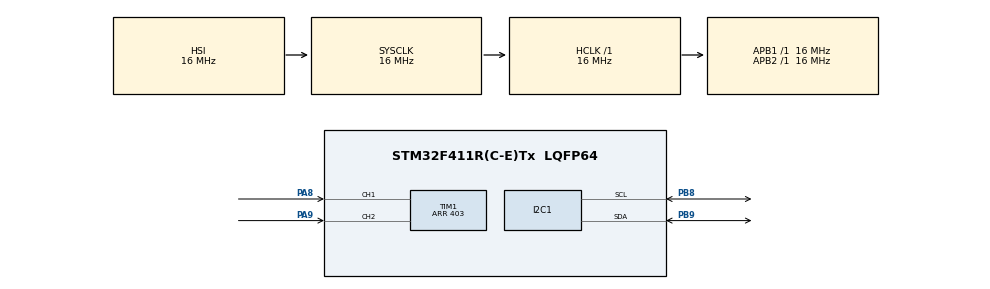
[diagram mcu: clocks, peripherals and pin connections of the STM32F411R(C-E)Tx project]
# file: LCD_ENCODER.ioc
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Mcu.Family=STM32F4
Mcu.Name=STM32F411R(C-E)Tx
Mcu.Package=LQFP64
NVIC.PriorityGroup=NVIC_PRIORITYGROUP_4
PA8.Signal=S_TIM1_CH1
PA9.Signal=S_TIM1_CH2
PB8.Mode=I2C
PB8.Signal=I2C1_SCL
PB9.Mode=I2C
PB9.Signal=I2C1_SDA
PH0\ -\ OSC_IN.Mode=HSE-External-Oscillator
PH0\ -\ OSC_IN.Signal=RCC_OSC_IN
PH1\ -\ OSC_OUT.Mode=HSE-External-Oscillator
PH1\ -\ OSC_OUT.Signal=RCC_OSC_OUT
ProjectManager.HeapSize=0x200
ProjectManager.StackSize=0x400
ProjectManager.TargetToolchain=SW4STM32
RCC.AHBFreq_Value=16000000
RCC.APB1Freq_Value=16000000
RCC.APB2Freq_Value=16000000
RCC.CortexFreq_Value=16000000
RCC.HSE_VALUE=25000000
RCC.HSI_VALUE=16000000
RCC.LSE_VALUE=32768
RCC.SYSCLKFreq_VALUE=16000000
RCC.VCOOutputFreq_Value=192000000
SH.S_TIM1_CH1.0=TIM1_CH1,Encoder_Interface
SH.S_TIM1_CH2.0=TIM1_CH2,Encoder_Interface
TIM1.EncoderMode=TIM_ENCODERMODE_TI12
TIM1.IC1Filter=15
TIM1.IC2Filter=15
TIM1.Period=403
board=LCD_ENCODER

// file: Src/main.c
/**
  ******************************************************************************
  * File Name          : main.c
  * Description        : Main program body
  ******************************************************************************
  ** This notice applies to any and all portions of this file
  * that are not between comment pairs USER CODE BEGIN and
  * USER CODE END. Other portions of this file, whether
  * inserted by the user or by software development tools
  * are owned by their respective copyright owners.
  *
  * COPYRIGHT(c) 2017 STMicroelectronics
  *
  * Redistribution and use in source and binary forms, with or without modification,
  * are permitted provided that the following conditions are met:
  *   1. Redistributions of source code must retain the above copyright notice,
  *      this list of conditions and the following disclaimer.
  *   2. Redistributions in binary form must reproduce the above copyright notice,
  *      this list of conditions and the following disclaimer in the documentation
  *      and/or other materials provided with the distribution.
  *   3. Neither the name of STMicroelectronics nor the names of its contributors
  *      may be used to endorse or promote products derived from this software
  *      without specific prior written permission.
  *
  * THIS SOFTWARE IS PROVIDED BY THE COPYRIGHT HOLDERS AND CONTRIBUTORS "AS IS"
  * AND ANY EXPRESS OR IMPLIED WARRANTIES, INCLUDING, BUT NOT LIMITED TO, THE
  * IMPLIED WARRANTIES OF MERCHANTABILITY AND FITNESS FOR A PARTICULAR PURPOSE ARE
  * DISCLAIMED. IN NO EVENT SHALL THE COPYRIGHT HOLDER OR CONTRIBUTORS BE LIABLE
  * FOR ANY DIRECT, INDIRECT, INCIDENTAL, SPECIAL, EXEMPLARY, OR CONSEQUENTIAL
  * DAMAGES (INCLUDING, BUT NOT LIMITED TO, PROCUREMENT OF SUBSTITUTE GOODS OR
  * SERVICES; LOSS OF USE, DATA, OR PROFITS; OR BUSINESS INTERRUPTION) HOWEVER
  * CAUSED AND ON ANY THEORY OF LIABILITY, WHETHER IN CONTRACT, STRICT LIABILITY,
  * OR TORT (INCLUDING NEGLIGENCE OR OTHERWISE) ARISING IN ANY WAY OUT OF THE USE
  * OF THIS SOFTWARE, EVEN IF ADVISED OF THE POSSIBILITY OF SUCH DAMAGE.
  *
  ******************************************************************************
  */

#include "main.h"
#include "stm32f4xx_hal.h"
#include "HD44780-master\\hd44780.h"
#include "PCF8574-master\\pcf8574.h"

I2C_HandleTypeDef hi2c1;
LCD_PCF8574_HandleTypeDef	lcd;
TIM_HandleTypeDef htim1;

/* USER CODE BEGIN PV */
/* Private variables ---------------------------------------------------------*/
volatile uint16_t pulse_count; // Licznik impulsow TRZEBA PODPIテ D8 (A) i D7 (B)
volatile uint16_t positions; // Licznik przekreconych pozycji
/* USER CODE END PV */

void SystemClock_Config(void);
static void MX_GPIO_Init(void);
static void MX_I2C1_Init(void);
static void MX_TIM1_Init(void);

/* USER CODE BEGIN PFP */
/* Private function prototypes -----------------------------------------------*/

/* USER CODE END PFP */

int main(void)
{

  /* MCU Configuration----------------------------------------------------------*/

  /* Reset of all peripherals, Initializes the Flash interface and the Systick. */
  HAL_Init();

  /* Configure the system clock */
  SystemClock_Config();

  /* Initialize all configured peripherals */
  MX_GPIO_Init();
  MX_I2C1_Init();
  MX_TIM1_Init();

  /* USER CODE BEGIN 2 */
  HAL_TIM_Encoder_Start(&htim1, TIM_CHANNEL_ALL);

  HAL_Init();

    	HAL_NVIC_SetPriorityGrouping(NVIC_PRIORITYGROUP_4);
    	HAL_NVIC_SetPriority(SysTick_IRQn, 0, 1);

    	lcd.pcf8574.PCF_I2C_ADDRESS = 7;
    	lcd.pcf8574.PCF_I2C_TIMEOUT = 1000;
    	lcd.pcf8574.i2c.Instance = I2C1;
    	lcd.pcf8574.i2c.Init.ClockSpeed = 400000;
    	lcd.NUMBER_OF_LINES = NUMBER_OF_LINES_2;
    	lcd.type = TYPE0;

    	if(LCD_Init(&lcd)!=LCD_OK){
    			// error occured
    			while(1);
    		}

    	LCD_ClearDisplay(&lcd);
    	LCD_SetLocation(&lcd, 0, 0);
    	LCD_WriteString(&lcd, "Choose option:");
   		LCD_SetLocation(&lcd, 0, 1);
   		LCD_WriteString(&lcd, "1. Do sth");
  /* USER CODE END 2 */

  /* Infinite loop */
  while (1)
  {
	  pulse_count = TIM1->CNT; // przepisanie wartosci z rejestru timera
	  positions = pulse_count/4; // zeskalowanie impulsow do liczby stabilnych pozycji walu enkodera

	  LCD_SetLocation(&lcd, 6, 0);
	 //LCD_WriteFloat(&lcd,3.1,2);
	  LCD_SetLocation(&lcd, 6, 1);
	 //LCD_WriteFloat(&lcd,2.71,2);
	  HAL_Delay(3000);
  }

}

/** System Clock Configuration
*/
void SystemClock_Config(void)
{

  RCC_OscInitTypeDef RCC_OscInitStruct;
  RCC_ClkInitTypeDef RCC_ClkInitStruct;

    /**Configure the main internal regulator output voltage
    */
  __HAL_RCC_PWR_CLK_ENABLE();

  __HAL_PWR_VOLTAGESCALING_CONFIG(PWR_REGULATOR_VOLTAGE_SCALE1);

    /**Initializes the CPU, AHB and APB busses clocks
    */
  RCC_OscInitStruct.OscillatorType = RCC_OSCILLATORTYPE_HSI;
  RCC_OscInitStruct.HSIState = RCC_HSI_ON;
  RCC_OscInitStruct.HSICalibrationValue = 16;
  RCC_OscInitStruct.PLL.PLLState = RCC_PLL_NONE;
  if (HAL_RCC_OscConfig(&RCC_OscInitStruct) != HAL_OK)
  {
    _Error_Handler(__FILE__, __LINE__);
  }

    /**Initializes the CPU, AHB and APB busses clocks
    */
  RCC_ClkInitStruct.ClockType = RCC_CLOCKTYPE_HCLK|RCC_CLOCKTYPE_SYSCLK
                              |RCC_CLOCKTYPE_PCLK1|RCC_CLOCKTYPE_PCLK2;
  RCC_ClkInitStruct.SYSCLKSource = RCC_SYSCLKSOURCE_HSI;
  RCC_ClkInitStruct.AHBCLKDivider = RCC_SYSCLK_DIV1;
  RCC_ClkInitStruct.APB1CLKDivider = RCC_HCLK_DIV1;
  RCC_ClkInitStruct.APB2CLKDivider = RCC_HCLK_DIV1;

  if (HAL_RCC_ClockConfig(&RCC_ClkInitStruct, FLASH_LATENCY_0) != HAL_OK)
  {
    _Error_Handler(__FILE__, __LINE__);
  }

    /**Configure the Systick interrupt time
    */
  HAL_SYSTICK_Config(HAL_RCC_GetHCLKFreq()/1000);

    /**Configure the Systick
    */
  HAL_SYSTICK_CLKSourceConfig(SYSTICK_CLKSOURCE_HCLK);

  /* SysTick_IRQn interrupt configuration */
  HAL_NVIC_SetPriority(SysTick_IRQn, 0, 0);
}

/* I2C1 init function */
static void MX_I2C1_Init(void)
{

  hi2c1.Instance = I2C1;
  hi2c1.Init.ClockSpeed = 100000;
  hi2c1.Init.DutyCycle = I2C_DUTYCYCLE_2;
  hi2c1.Init.OwnAddress1 = 0;
  hi2c1.Init.AddressingMode = I2C_ADDRESSINGMODE_7BIT;
  hi2c1.Init.DualAddressMode = I2C_DUALADDRESS_DISABLE;
  hi2c1.Init.OwnAddress2 = 0;
  hi2c1.Init.GeneralCallMode = I2C_GENERALCALL_DISABLE;
  hi2c1.Init.NoStretchMode = I2C_NOSTRETCH_DISABLE;
  if (HAL_I2C_Init(&hi2c1) != HAL_OK)
  {
    _Error_Handler(__FILE__, __LINE__);
  }

}

/* TIM1 init function */
static void MX_TIM1_Init(void)
{

  TIM_Encoder_InitTypeDef sConfig;
  TIM_MasterConfigTypeDef sMasterConfig;

  htim1.Instance = TIM1;
  htim1.Init.Prescaler = 0;
  htim1.Init.CounterMode = TIM_COUNTERMODE_UP;
  htim1.Init.Period = 403;
  htim1.Init.ClockDivision = TIM_CLOCKDIVISION_DIV1;
  htim1.Init.RepetitionCounter = 0;
  sConfig.EncoderMode = TIM_ENCODERMODE_TI12;
  sConfig.IC1Polarity = TIM_ICPOLARITY_RISING;
  sConfig.IC1Selection = TIM_ICSELECTION_DIRECTTI;
  sConfig.IC1Prescaler = TIM_ICPSC_DIV1;
  sConfig.IC1Filter = 15;
  sConfig.IC2Polarity = TIM_ICPOLARITY_RISING;
  sConfig.IC2Selection = TIM_ICSELECTION_DIRECTTI;
  sConfig.IC2Prescaler = TIM_ICPSC_DIV1;
  sConfig.IC2Filter = 15;
  if (HAL_TIM_Encoder_Init(&htim1, &sConfig) != HAL_OK)
  {
    _Error_Handler(__FILE__, __LINE__);
  }

  sMasterConfig.MasterOutputTrigger = TIM_TRGO_RESET;
  sMasterConfig.MasterSlaveMode = TIM_MASTERSLAVEMODE_DISABLE;
  if (HAL_TIMEx_MasterConfigSynchronization(&htim1, &sMasterConfig) != HAL_OK)
  {
    _Error_Handler(__FILE__, __LINE__);
  }

}

/** Configure pins as
        * Analog
        * Input
        * Output
        * EVENT_OUT
        * EXTI
*/
static void MX_GPIO_Init(void)
{

  /* GPIO Ports Clock Enable */
  __HAL_RCC_GPIOH_CLK_ENABLE();
  __HAL_RCC_GPIOA_CLK_ENABLE();
  __HAL_RCC_GPIOB_CLK_ENABLE();

}

void _Error_Handler(char * file, int line)
{
  while(1)
  {
  }
}

/************************ (C) COPYRIGHT STMicroelectronics *****END OF FILE****/
